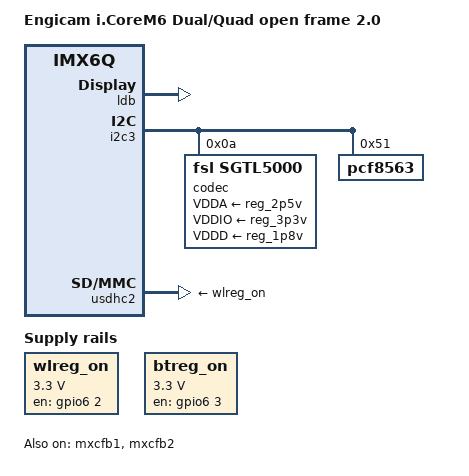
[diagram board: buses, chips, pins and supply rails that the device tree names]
/*
 * Copyright (C) 2013 Freescale Semiconductor, Inc.
 *
 * This program is free software; you can redistribute it and/or modify
 * it under the terms of the GNU General Public License version 2 as
 * published by the Free Software Foundation.
 */

/dts-v1/;

#include "imx6q.dtsi"
#include "imx6qdl-icore.dtsi"
 
/ {
	model = "Engicam i.CoreM6 Dual/Quad open frame 2.0";
	compatible = "fsl,imx6-icore", "fsl,imx6q";

	regulators {
		compatible = "simple-bus";

		wlreg_on: fixedregulator@100 {
			compatible = "regulator-fixed";
			regulator-name = "wlreg_on";
			gpio = <&gpio6 2 0>;
			startup-delay-us = <100>;
			enable-active-high;
			regulator-min-microvolt = <3300000>;
			regulator-max-microvolt = <3300000>;
			regulator-always-on;
		};

		btreg_on: fixedregulator@200 {
			compatible = "regulator-fixed";
			regulator-name = "btreg_on";
			gpio = <&gpio6 3 0>;
			startup-delay-us = <100>;
			enable-active-high;
			regulator-min-microvolt = <3300000>;
			regulator-max-microvolt = <3300000>;
			regulator-always-on;
		};
	};
};

&mxcfb1 {
	compatible = "fsl,mxc_sdc_fb";
	disp_dev = "ldb";
	interface_pix_fmt = "RGB24";
	mode_str ="Amp-WD";
	default_bpp = <32>;
	int_clk = <0>;
	late_init = <0>;
	status = "okay";
};

&mxcfb2 {
	status = "okay";
};

&ldb {
	status = "okay";

	lvds-channel@0 {
		fsl,data-mapping = "spwg";
		fsl,data-width = <24>;
		status = "okay";
		crtc = "ipu1-di0";
		primary;

		display-timings {
                        native-mode = <&timing1>;
                        timing1: hsd100pxn1 {
                                clock-frequency = <60000000>;
                                hactive = <1280>;
                                vactive = <800>;
                                hback-porch = <40>;
                                hfront-porch = <40>;
                                vback-porch = <10>;
                                vfront-porch = <3>;
                                hsync-len = <80>;
                                vsync-len = <10>;
                        };
                };
	};
};

&i2c3 {

	codec: sgtl5000@0a {
		compatible = "fsl,sgtl5000";
		reg = <0x0a>;
		clocks = <&clks 201>;
		VDDA-supply = <&reg_2p5v>;
		VDDIO-supply = <&reg_3p3v>;
		VDDD-supply = <&reg_1p8v>;
	};
	
	pcf8563: rtc@51 {
		compatible = "pcf8563";
		reg = <0x51>;
	};
};

&usdhc2 {
	pinctrl-names = "default";
	vmmc-supply = <&wlreg_on>;
};


&iomuxc {
	hog {
		pinctrl_hog: hoggrp {
			fsl,pins = <
				MX6QDL_PAD_GPIO_2__GPIO1_IO02 0x1f059
				MX6QDL_PAD_EIM_D19__GPIO3_IO19 0x1f059 /* not used pin for ADV7180 driver compatibility */
				MX6QDL_PAD_CSI0_DAT16__GPIO6_IO02 0x1f059 /* WL_REG_ON */
				MX6QDL_PAD_CSI0_DAT17__GPIO6_IO03 0x1f059 /* BT_REG_ON */
			>;
		};
	};
};
